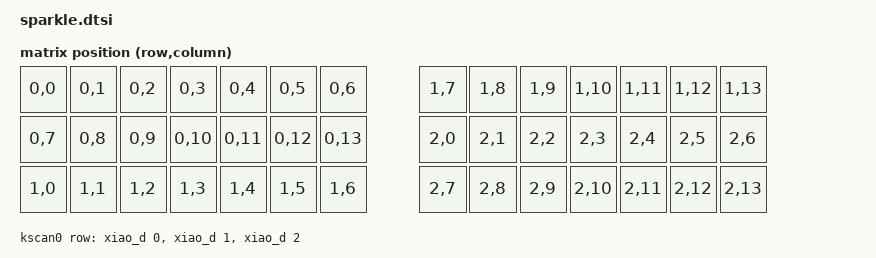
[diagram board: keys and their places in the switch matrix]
// キーの座標変換に使うマクロ（RC(row, column) など）を読み込み
#include <dt-bindings/zmk/matrix_transform.h>

// 物理レイアウトの構造を記述するためのベース定義ファイルをインクルード
#include <physical_layouts.dtsi>

/ {
    // 使用する物理レイアウト（physical_layout0）を選択肢として指定
    chosen {
        zmk,physical-layout = &physical_layout0;
    };

    // 実際の物理レイアウトの定義
    physical_layout0: physical_layout0 {
        compatible = "zmk,physical-layout";  // ZMKが物理レイアウトとして認識するための互換名
        display-name = "SPARKLE Keyboard";  // GUI表示などでのキーボード名
        kscan = <&kscan0>;  // スキャン対象のキーマトリクスノード
        transform = <&default_transform>;  // 論理キー→物理キーの変換ルールを指定

        // 各キーの物理的な位置とサイズを定義（キースイッチ単位）
        // フォーマット: <幅 高さ X座標 Y座標 回転角度 回転基準X 回転基準Y>
        keys
            //左側
            = <&key_physical_attrs 100 100    0    0       0     0     0>  // 1列目, 1行目
            , <&key_physical_attrs 100 100  100    0       0     0     0>  // 2列目, 1行目
            , <&key_physical_attrs 100 100  200    0       0     0     0>  // 3列目, 1行目
            , <&key_physical_attrs 100 100  300    0       0     0     0>  // 4列目, 1行目
            , <&key_physical_attrs 100 100  400    0       0     0     0>  // 2列目, 1行目
            , <&key_physical_attrs 100 100  500    0       0     0     0>  // 3列目, 1行目
            , <&key_physical_attrs 100 100  600    0       0     0     0>  // 4列目, 1行目

            , <&key_physical_attrs 100 100    0    100       0     0     0>  // 1列目, 1行目
            , <&key_physical_attrs 100 100  100    100       0     0     0>  // 2列目, 1行目
            , <&key_physical_attrs 100 100  200    100       0     0     0>  // 3列目, 1行目
            , <&key_physical_attrs 100 100  300    100       0     0     0>  // 4列目, 1行目
            , <&key_physical_attrs 100 100  400    100       0     0     0>  // 2列目, 1行目
            , <&key_physical_attrs 100 100  500    100       0     0     0>  // 3列目, 1行目
            , <&key_physical_attrs 100 100  600    100       0     0     0>  // 4列目, 1行目

            , <&key_physical_attrs 100 100    0    200       0     0     0>  // 1列目, 1行目
            , <&key_physical_attrs 100 100  100    200       0     0     0>  // 2列目, 1行目
            , <&key_physical_attrs 100 100  200    200       0     0     0>  // 3列目, 1行目
            , <&key_physical_attrs 100 100  300    200       0     0     0>  // 4列目, 1行目
            , <&key_physical_attrs 100 100  400    200       0     0     0>  // 2列目, 1行目
            , <&key_physical_attrs 100 100  500    200       0     0     0>  // 3列目, 1行目
            , <&key_physical_attrs 100 100  600    200       0     0     0>  // 4列目, 1行目


            //右側
            = <&key_physical_attrs 100 100  800    0       0     0     0>  // 1列目, 1行目
            , <&key_physical_attrs 100 100  900    0       0     0     0>  // 2列目, 1行目
            , <&key_physical_attrs 100 100  1000    0       0     0     0>  // 3列目, 1行目
            , <&key_physical_attrs 100 100  1100    0       0     0     0>  // 4列目, 1行目
            , <&key_physical_attrs 100 100  1200    0       0     0     0>  // 2列目, 1行目
            , <&key_physical_attrs 100 100  1300    0       0     0     0>  // 3列目, 1行目
            , <&key_physical_attrs 100 100  1400    0       0     0     0>  // 4列目, 1行目

            , <&key_physical_attrs 100 100  800    100       0     0     0>  // 1列目, 1行目
            , <&key_physical_attrs 100 100  900    100       0     0     0>  // 2列目, 1行目
            , <&key_physical_attrs 100 100  1000    100       0     0     0>  // 3列目, 1行目
            , <&key_physical_attrs 100 100  1100    100       0     0     0>  // 4列目, 1行目
            , <&key_physical_attrs 100 100  1200    100       0     0     0>  // 2列目, 1行目
            , <&key_physical_attrs 100 100  1300    100       0     0     0>  // 3列目, 1行目
            , <&key_physical_attrs 100 100  1400    100       0     0     0>  // 4列目, 1行目

            , <&key_physical_attrs 100 100  800    200       0     0     0>  // 1列目, 1行目
            , <&key_physical_attrs 100 100  900    200       0     0     0>  // 2列目, 1行目
            , <&key_physical_attrs 100 100  1000    200       0     0     0>  // 3列目, 1行目
            , <&key_physical_attrs 100 100  1100    200       0     0     0>  // 4列目, 1行目
            , <&key_physical_attrs 100 100  1200    200       0     0     0>  // 2列目, 1行目
            , <&key_physical_attrs 100 100  1300    200       0     0     0>  // 3列目, 1行目
            , <&key_physical_attrs 100 100  1400    200       0     0     0>  // 4列目, 1行目
            ;
    };

    // 行列変換ルール（キーの論理配列と物理レイアウトを一致させる）
    default_transform: keymap_transform0 {
        compatible = "zmk,matrix-transform";  // ZMKが認識できる変換形式
        columns = <14>;  // 列数：14
        rows = <3>;     // 行数：3

        // 論理行列上の位置（row-column）とキー番号を対応付け
        map = <
            RC(0,0) RC(0,1) RC(0,2) RC(0,3) RC(0,4) RC(0,5) RC(0,6) RC(0,7) RC(0,8) RC(0,9) RC(0,10) RC(0,11) RC(0,12) RC(0,13)  // 1行目（上段）
            RC(1,0) RC(1,1) RC(1,2) RC(1,3) RC(1,4) RC(1,5) RC(1,6) RC(1,7) RC(1,8) RC(1,9) RC(1,10) RC(1,11) RC(1,12) RC(1,13)  // 2行目（中段）
            RC(2,0) RC(2,1) RC(2,2) RC(2,3) RC(2,4) RC(2,5) RC(2,6) RC(2,7) RC(2,8) RC(2,9) RC(2,10) RC(2,11) RC(2,12) RC(2,13)  // 3行目（下段）
        >;
    };

    // GPIOマトリクスによるキー入力スキャンの定義
    kscan0: kscan0 {
        compatible = "zmk,kscan-gpio-matrix";  // GPIOを用いた行列スキャン方式
        diode-direction = "col2row";  // ダイオードの向き（列→行）

        // 行ピンの定義（2本）：XIAOのD10とD9を使用
        row-gpios
            = <&xiao_d 0  (GPIO_ACTIVE_HIGH | GPIO_PULL_DOWN)>  // 行0
            , <&xiao_d 1  (GPIO_ACTIVE_HIGH | GPIO_PULL_DOWN)>  // 行1
            , <&xiao_d 2  (GPIO_ACTIVE_HIGH | GPIO_PULL_DOWN)>; // 行2
    };
};
